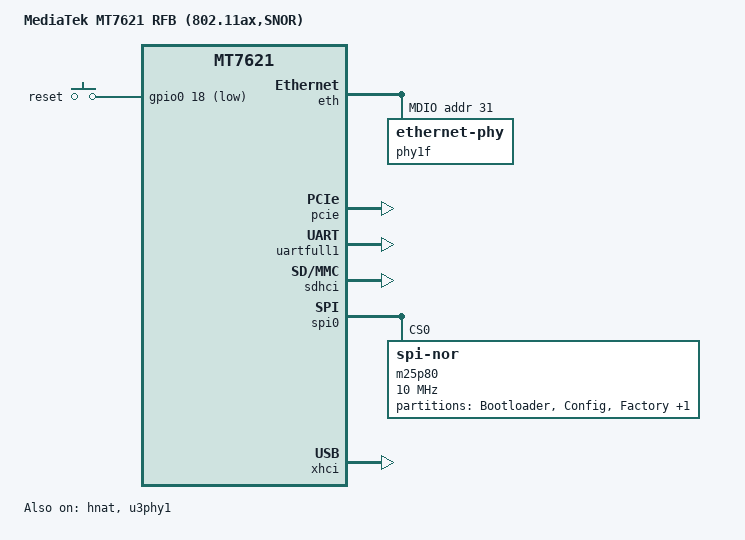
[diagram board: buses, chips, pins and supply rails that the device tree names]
/dts-v1/;

#include "mt7621.dtsi"
#include <dt-bindings/input/input.h>

/ {
	compatible = "mediatek,mt7621-rfb-nor", "mediatek,mt7621-soc";
	model = "MediaTek MT7621 RFB (802.11ax,SNOR)";

	chosen {
		bootargs = "console=ttyS0,115200";
	};

	gpio-keys-polled {
		compatible = "gpio-keys-polled";
		#address-cells = <1>;
		#size-cells = <0>;
		poll-interval = <20>;

		reset {
			label = "reset";
			gpios = <&gpio0 18 1>;
			linux,code = <KEY_RESTART>;
		};
	};
};

&eth {
        status = "okay";

        gmac0: mac@0 {
                compatible = "mediatek,eth-mac";
                reg = <0>;
                phy-mode = "trgmii";
                fixed-link {
                        speed = <1000>;
                        full-duplex;
                        pause;
                };
        };

        gmac1: mac@1 {
                compatible = "mediatek,eth-mac";
                reg = <1>;
                phy-mode = "rgmii";
                phy-link-handle = <&phy4>;
                fixed-link {
                        speed = <1000>;
                        full-duplex;
                        pause;
                };
        };

        mdio: mdio-bus {
                #address-cells = <1>;
                #size-cells = <0>;

                phy1f: ethernet-phy@1f {
                        reg = <0x1f>;
                        phy-mode = "rgmii";
                };
        };
};

&gsw {
	mediatek,mdio = <&mdio>;
	mediatek,portmap = "llllw";
	mediatek,mcm;

	resets = <&rstctrl 2>;
	reset-names = "mcm";

	port5: port@5 {
		compatible = "mediatek,mt753x-port";
		reg = <5>;
		phy-mode = "rgmii";
		fixed-link {
			speed = <1000>;
			full-duplex;
		};
	};

	port6: port@6 {
		compatible = "mediatek,mt753x-port";
		reg = <6>;
		phy-mode = "trgmii";
		fixed-link {
			speed = <1000>;
			full-duplex;
		};
	};

	mdio-bus {
		#address-cells = <1>;
		#size-cells = <0>;
	};
};

&hnat {
        mtketh-wan = "eth1";
        mtketh-ppd = "eth0";
	ext-devices = "rax0", "ra0", "rax1", "ra1", "rax2", "ra2", "rax3", "ra3", "apclix0", "apcli0";
        mtketh-max-gmac = <2>;
        status = "okay";
};

&pcie {
	status = "okay";
};

&pinctrl {
	state_default: pinctrl0 {
		gpio {
			mtk,group = "i2c", "uart3";
			mtk,function = "gpio";
		};

		uart2 {
			mtk,group = "uart2";
			mtk,function = "uart2";
		};
	};
};

&uartfull1 {
	status = "okay";
};

&sdhci {
	status = "okay";

	pinctrl-names = "default";
	pinctrl-0 = <&sdhci_pins>;
};

&spi0 {
	status = "okay";

	m25p80@0 {
		#address-cells = <1>;
		#size-cells = <1>;
		compatible = "jedec,spi-nor";
		reg = <0>;
		spi-max-frequency = <10000000>;
		m25p,chunked-io = <32>;

		partition@0 {
			label = "Bootloader";
			reg = <0x00000 0x30000>;
		};

		partition@30000 {
			label = "Config";
			reg = <0x30000 0x10000>;
		};

		partition@50000 {
			label = "Factory";
			reg = <0x50000 0x40000>;
		};

		partition@90000 {
			label = "firmware";
			reg = <0x90000 0xf70000>;
		};
	};
};

&u3phy1 {
	status = "okay";
};

&xhci {
	status = "okay";
};
